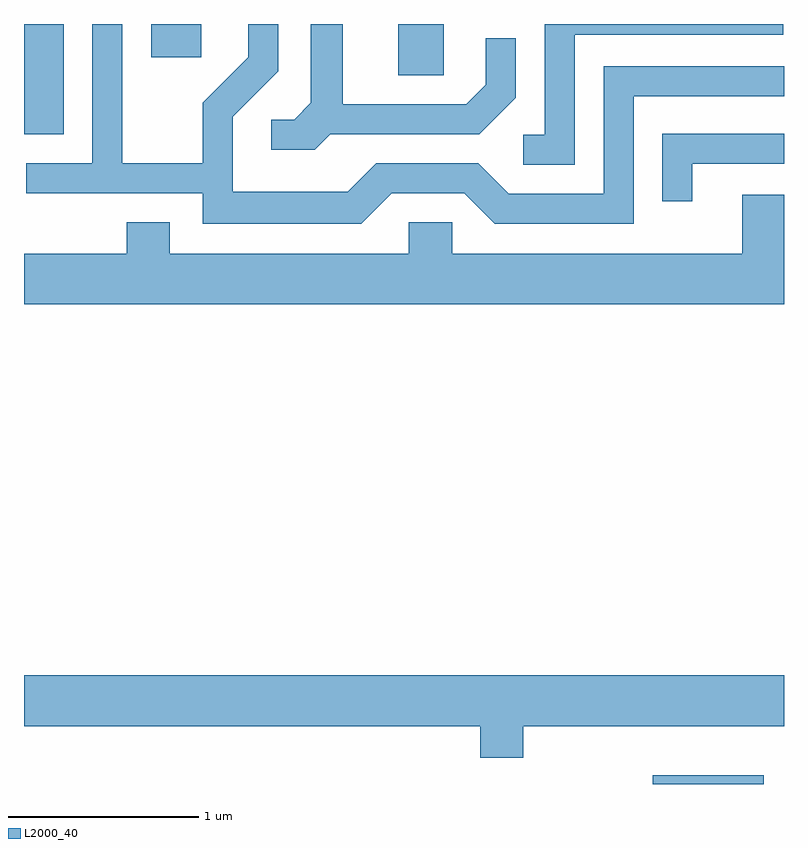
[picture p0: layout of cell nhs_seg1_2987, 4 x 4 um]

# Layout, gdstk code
import gdstk
lib = gdstk.Library(unit=1e-6, precision=1e-09)
def R(c, l, rs):  # rectangles x0, y0, x1, y1
    for r in rs: c.add(gdstk.rectangle(r[:2], r[2:], *l))
def P(c, l, *ps):  # polygons
    for p in ps: c.add(gdstk.Polygon(p, *l))
L2000_40 = (2000, 40)

nhs_seg1_2987 = lib.new_cell('nhs_seg1_2987')
R(nhs_seg1_2987, L2000_40, [(278.921,903.712,279.504,903.759), (275.611,907.131,275.819,907.712), (277.581,907.441,277.819,907.712), (276.281,907.536,276.544,907.712)])
P(nhs_seg1_2987, L2000_40, [(278.509,907.656),(279.608,907.656),(279.608,907.712),(278.351,907.712),(278.351,907.129),(278.238,907.129),(278.238,906.971),(278.509,906.971)],
  [(277.222,907.131),(278.007,907.131),(278.199,907.324),(278.199,907.638),(278.041,907.638),(278.041,907.392),(277.939,907.289),(277.289,907.289),(277.289,907.712),(277.121,907.712),(277.121,907.297),(277.034,907.209),(276.913,907.209),(276.913,907.051),(277.142,907.051)],
  [(277.547,906.821),(277.929,906.821),(278.089,906.661),(278.819,906.661),(278.819,907.331),(279.611,907.331),(279.611,907.489),(278.661,907.489),(278.661,906.819),(278.162,906.819),(278.002,906.979),(277.464,906.979),(277.314,906.829),(276.709,906.829),(276.709,907.224),(276.949,907.464),(276.949,907.712),(276.791,907.712),(276.791,907.537),(276.551,907.297),(276.551,906.979),(276.129,906.979),(276.129,907.712),(275.971,907.712),(275.971,906.979),(275.623,906.979),(275.623,906.821),(276.551,906.821),(276.551,906.661),(277.387,906.661)],
  [(279.129,906.976),(279.611,906.976),(279.611,907.134),(278.971,907.134),(278.971,906.778),(279.129,906.778)],
  [(279.611,906.814),(279.391,906.814),(279.391,906.504),(277.864,906.504),(277.864,906.669),(277.636,906.669),(277.636,906.504),(276.379,906.504),(276.379,906.669),(276.151,906.669),(276.151,906.504),(275.611,906.504),(275.611,906.236),(279.611,906.236)],
  [(278.239,904.016),(279.611,904.016),(279.611,904.284),(275.611,904.284),(275.611,904.016),(278.011,904.016),(278.011,903.851),(278.239,903.851)])

lib.write_gds('nhs_seg1_2987.gds')
